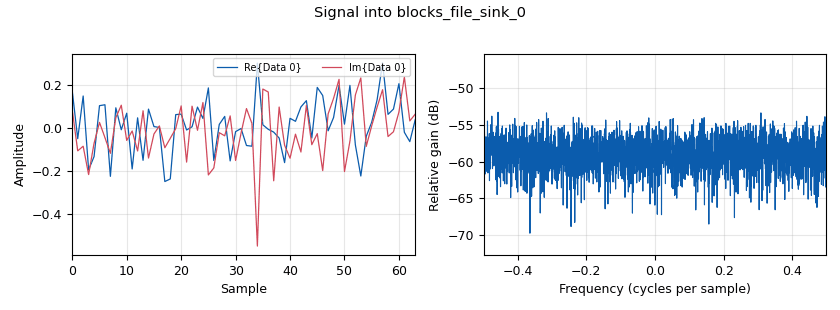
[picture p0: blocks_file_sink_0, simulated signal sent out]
options:
  parameters:
    generate_options: qt_gui
    id: top_block
    output_language: python
  states: {}

blocks:
- name: bandwidth
  id: variable
  parameters:
    value: 1e6
  states: {}
- name: noise_amplitude
  id: variable
  parameters:
    value: '0.193'
  states: {}
- name: noise_seed
  id: variable
  parameters:
    value: '12'
  states: {}
- name: samp_rate
  id: variable
  parameters:
    value: 2*bandwidth
  states: {}
- name: tuning
  id: variable_qtgui_range
  parameters:
    label: Frequency
    orient: Qt.Horizontal
    start: 890e6
    step: bandwidth
    stop: 940e6
    value: 917.1e6
  states: {}
- name: vec_size
  id: variable
  parameters:
    value: '2048'
  states: {}
- name: analog_noise_source_x_0
  id: analog_noise_source_x
  parameters:
    amp: noise_amplitude
    noise_type: analog.GR_GAUSSIAN
    seed: noise_seed
    type: complex
  states: {}
- name: blocks_add_xx_0
  id: blocks_add_xx
  parameters:
    type: complex
  states: {}
- name: blocks_file_sink_0
  id: blocks_file_sink
  parameters:
    file: /media/ejmie518/Grad School Data/Research/Data/Hardware Signals/mRo_1/noise_12_0.193.data
    type: complex
  states: {}
- name: blocks_file_sink_1
  id: blocks_file_sink
  parameters:
    file: /media/ejmie518/Grad School Data/Research/Data/Hardware Signals/mRo_1/12_0.193.data
    type: complex
  states: {}
- name: qtgui_sink_x_0
  id: qtgui_sink_x
  parameters:
    bw: bandwidth
    fc: tuning
    fftsize: '2048'
    name: '"Frequency Visualizer (Raw)"'
    showports: 'True'
    showrf: 'True'
    type: complex
    wintype: firdes.WIN_BLACKMAN_hARRIS
  states: {}
- name: uhd_usrp_source_0
  id: uhd_usrp_source
  parameters:
    ant0: TX/RX
    bw0: bandwidth
    center_freq0: tuning
    clock_rate: '0.0'
    dc_offs_enb0: '""'
    dev_addr: '"serial=307D1D5"'
    dev_args: '""'
    gain0: '0'
    iq_imbal_enb0: '""'
    norm_gain0: 'False'
    samp_rate: samp_rate
    sync: none
    type: fc32
  states: {}

connections:
- [analog_noise_source_x_0, '0', blocks_add_xx_0, '1']
- [analog_noise_source_x_0, '0', blocks_file_sink_0, '0']
- [blocks_add_xx_0, '0', blocks_file_sink_1, '0']
- [blocks_add_xx_0, '0', qtgui_sink_x_0, '0']
- [uhd_usrp_source_0, '0', blocks_add_xx_0, '0']

metadata:
  file_format: 1
